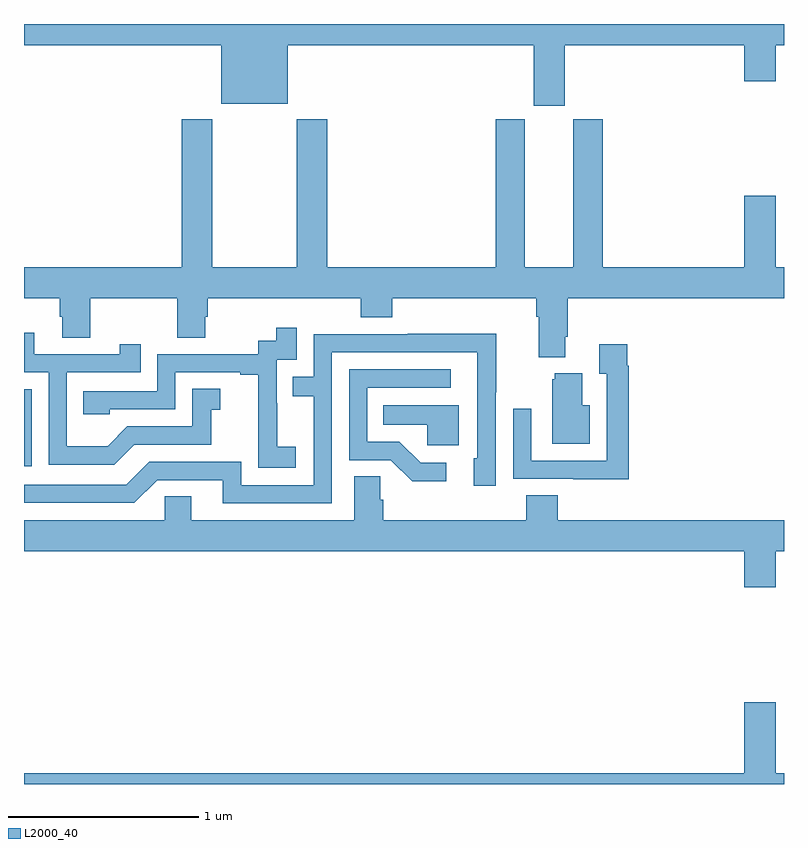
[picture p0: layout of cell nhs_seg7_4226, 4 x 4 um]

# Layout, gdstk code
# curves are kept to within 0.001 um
import gdstk
lib = gdstk.Library(unit=1e-6, precision=1e-09)
def R(c, l, rs):  # rectangles x0, y0, x1, y1
    for r in rs: c.add(gdstk.rectangle(r[:2], r[2:], *l))
def P(c, l, *ps):  # polygons
    for p in ps: c.add(gdstk.Polygon(p, *l))
L2000_40 = (2000, 40)

nhs_seg7_4226 = lib.new_cell('nhs_seg7_4226')
R(nhs_seg7_4226, L2000_40, [(377,1059.672,377.04,1060.077)])
P(nhs_seg7_4226, L2000_40, [(379.846,1061.888),(380.792,1061.888),(380.792,1061.7),(380.956,1061.7),(380.956,1061.888),(381,1061.888),(381,1062),(377,1062),(377,1061.888),(378.038,1061.888),(378.038,1061.579),(378.388,1061.579),(378.388,1061.888),(379.682,1061.888),(379.682,1061.571),(379.846,1061.571)],
  [(378.596,1061.5),(378.436,1061.5),(378.436,1060.72),(377.991,1060.72),(377.991,1061.5),(377.831,1061.5),(377.831,1060.72),(377,1060.72),(377,1060.556),(377.189,1060.556),(377.189,1060.458),(377.201,1060.458),(377.201,1060.348),(377.349,1060.348),(377.349,1060.556),(377.806,1060.556),(377.806,1060.348),(377.953,1060.348),(377.953,1060.458),(377.966,1060.458),(377.966,1060.556),(378.773,1060.556),(378.773,1060.457),(378.938,1060.457),(378.938,1060.556),(379.697,1060.556),(379.697,1060.46),(379.709,1060.46),(379.709,1060.247),(379.849,1060.247),(379.849,1060.354),(379.862,1060.354),(379.862,1060.556),(381,1060.556),(381,1060.72),(380.956,1060.72),(380.956,1061.095),(380.792,1061.095),(380.792,1060.72),(380.045,1060.72),(380.045,1061.499),(379.892,1061.499),(379.892,1060.72),(379.636,1060.72),(379.636,1061.499),(379.484,1061.499),(379.484,1060.72),(378.596,1060.72)],
  [(378.43,1059.775),(378.332,1059.775),(378.332,1060.004),(378.33,1060.004),(378.33,1060.233),(378.435,1060.233),(378.435,1060.402),(378.327,1060.402),(378.327,1060.332),(378.234,1060.332),(378.234,1060.263),(377.7,1060.263),(377.7,1060.068),(377.311,1060.068),(377.311,1059.945),(377.451,1059.945),(377.451,1059.972),(377.796,1059.972),(377.796,1060.167),(378.137,1060.167),(378.137,1060.155),(378.233,1060.155),(378.233,1059.871),(378.232,1059.871),(378.232,1059.665),(378.43,1059.665)],
  [(377.581,1059.786),(377.985,1059.786),(377.985,1059.971),(378.034,1059.971),(378.034,1060.081),(377.886,1060.081),(377.886,1059.882),(377.544,1059.882),(377.44,1059.778),(377.226,1059.778),(377.226,1060.167),(377.615,1060.167),(377.615,1060.315),(377.504,1060.315),(377.504,1060.263),(377.053,1060.263),(377.053,1060.375),(377,1060.375),(377,1060.167),(377.13,1060.167),(377.13,1059.681),(377.476,1059.681)],
  [(378.621,1060.272),(379.385,1060.272),(379.386,1059.714),(379.367,1059.714),(379.367,1059.57),(379.482,1059.57),(379.482,1060.063),(379.485,1060.063),(379.485,1060.37),(379.021,1060.37),(379.021,1060.368),(378.525,1060.368),(378.525,1060.143),(378.415,1060.143),(378.415,1060.042),(378.525,1060.042),(378.525,1059.573),(378.144,1059.573),(378.144,1059.696),(377.658,1059.696),(377.538,1059.576),(377,1059.576),(377,1059.48),(377.58,1059.48),(377.7,1059.6),(378.047,1059.6),(378.047,1059.477),(378.621,1059.477)],
  [(380.183,1060.202),(380.176,1060.202),(380.176,1060.315),(380.027,1060.315),(380.027,1060.159),(380.067,1060.159),(380.067,1059.702),(379.671,1059.702),(379.671,1059.976),(379.575,1059.976),(379.575,1059.606),(379.891,1059.606),(379.891,1059.605),(380.183,1059.605)],
  [(379.222,1059.69),(379.087,1059.69),(378.976,1059.801),(378.807,1059.801),(378.807,1060.086),(379.246,1060.086),(379.246,1060.182),(378.711,1060.182),(378.711,1059.705),(378.93,1059.705),(379.043,1059.593),(379.222,1059.593)],
  [(379.978,1059.994),(379.939,1059.994),(379.939,1060.162),(379.793,1060.162),(379.793,1060.131),(379.781,1060.131),(379.781,1059.791),(379.978,1059.791)],
  [(379.288,1059.994),(378.892,1059.994),(378.892,1059.89),(379.123,1059.89),(379.123,1059.782),(379.288,1059.782)],
  [(380.956,1059.224),(381,1059.224),(381,1059.388),(379.808,1059.388),(379.808,1059.521),(379.643,1059.521),(379.643,1059.388),(378.89,1059.388),(378.89,1059.497),(378.876,1059.497),(378.876,1059.62),(378.737,1059.62),(378.737,1059.388),(377.881,1059.388),(377.881,1059.515),(377.742,1059.515),(377.742,1059.388),(377,1059.388),(377,1059.224),(380.792,1059.224),(380.792,1059.036),(380.956,1059.036)],
  [(381,1058.056),(380.956,1058.056),(380.956,1058.431),(380.792,1058.431),(380.792,1058.056),(377,1058.056),(377,1058),(381,1058)])

lib.write_gds('nhs_seg7_4226.gds')
